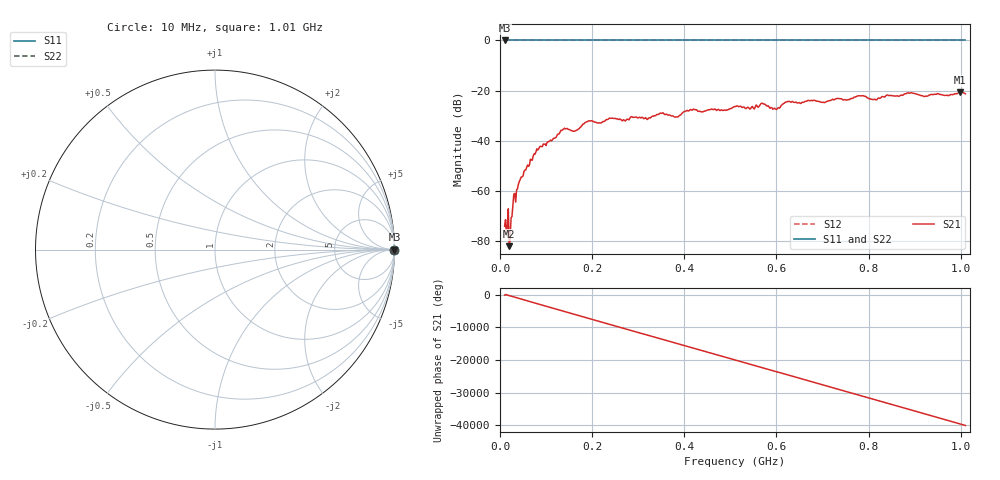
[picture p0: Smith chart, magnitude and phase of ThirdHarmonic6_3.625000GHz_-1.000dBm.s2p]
! 8/17/2025 12:08:42 PM
! C:\ANRITSUVNA\TEMP\TEMP.S2P
! CHANNEL.1
! TR.MEASUREMENT
! RAW.DATA
! RF.CORRECTION.OFF
! AVERAGING.OFF
! IF.BANDWIDTH: 5KHZ
! SWEEPTYPE:  FREQ.SWEEP(Linear)
! Reference Plane Port Info
! PORT:  PORT1  PORT2
! DISTANCE:  0  m  0  m
! TIME:  0  s  0  s
! PHASE.OFFSET:  0  deg.  0  deg.
! LOSS:  0  dB  0  dB
! REF.LOSS:  0  dB  0  dB
! REF.FREQ:  0  Hz  0  Hz
! Power Info
! POWER:  -20  dBm  -20  dBm
! EFF.POWER:  -20  dBm  -20  dBm
! SOURCE.ATTEN:  0  dB  0  dB
! TEST.ATTEN:  0  dB  0  dB
# GHZ S RI R 50.0
! FREQ.GHZ  S11RE  S11IM  S21RE  S21IM  S12RE  S12IM  S22RE  S22IM
!; PortSelection: Port_12
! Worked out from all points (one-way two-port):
!   501 points, 10 MHz to 1.01 GHz, reference 50 ohm
!   highest |S21| = -20.59 dB at 998 MHz (marker M1); lowest = -82.0 dB at 20 MHz (marker M2)
!   lowest |S11| = 0.0 dB at 10 MHz (marker M3)
!   |S11| at or under -10 dB: nowhere
!   |S22| runs from 0.0 to 0.0 dB; largest |S21 - S12| = 1.1
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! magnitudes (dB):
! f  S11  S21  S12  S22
! 10 MHz  0.0  -74.1  0.0  0.0
! 14 MHz  0.0  -77.6  0.0  0.0
! 18 MHz  0.0  -67.1  0.0  0.0
! 20 MHz  0.0  -82.0  0.0  0.0
! 24 MHz  0.0  -70.8  0.0  0.0
! 28 MHz  0.0  -65.6  0.0  0.0
! 40 MHz  0.0  -57.3  0.0  0.0
! 76 MHz  0.0  -45.3  0.0  0.0
! 136 MHz  0.0  -35.6  0.0  0.0
! 162 MHz  0.0  -36.2  0.0  0.0
! 178 MHz  0.0  -33.8  0.0  0.0
! 344 MHz  0.0  -29.5  0.0  0.0
! 382 MHz  0.0  -30.5  0.0  0.0
! 416 MHz  0.0  -27.8  0.0  0.0
! 510 MHz  0.0  -26.3  0.0  0.0
! 570 MHz  0.0  -25.1  0.0  0.0
! 596 MHz  0.0  -27.0  0.0  0.0
! 624 MHz  0.0  -24.4  0.0  0.0
! 678 MHz  0.0  -24.0  0.0  0.0
! 844 MHz  0.0  -22.0  0.0  0.0
! 998 MHz  0.0  -20.6  0.0  0.0
! 1.01 GHz  0.0  -21.3  0.0  0.0
